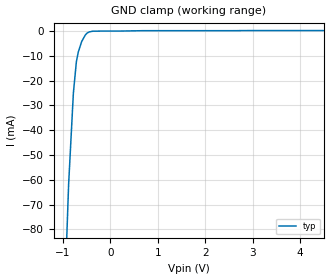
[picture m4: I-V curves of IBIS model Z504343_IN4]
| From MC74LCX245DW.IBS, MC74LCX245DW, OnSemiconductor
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| (C) COPYRIGHT 1993-2000
| MENTOR GRAPHICS CORPORATION
| ICX STANDARD LIBRARY, ICX PROJECT MODELING,
| ICX CUSTOM MODELING, ICX VENDOR MODEL
| ALL RIGHTS RESERVED.
| THE FOLLOWING ARE TRADEMARKS OR SERVICE MARKS OF
| MENTOR GRAPHICS CORPORATION:ICX (R), ICX STANDARD
| LIBRARY(R), ICX PROJECT MODELING(R), ICX CUSTOM
| MODELING(R), qualityIBIS(TM), MODELVIEWER(TM),
| AND MODELEDITOR(TM)
| ALL COPIES OF SOFTWARE, INCLUDING BUT NOT LIMITED TO
| ANY MODIFICATIONS, ENHANCEMENTS OR DERIVATIVE WORKS,
| MUST CONTAIN ALL MENTOR GRAPHICS CORPORATION'S
| NOTICES AND LEGENDS, INCLUDING THOSE EMBEDDED IN
| SOFTWARE AND THOSE AFFIXED TO SOFTWARE MEDIUM
| AND CONTAINER, AS RECEIVED FROM MENTOR GRAPHICS
| CORPORATION.
| Model Application Version 1.89 2/18/99.
[Model] Z504343_IN4
Model_type Input
Vinl = 800.0mV
Vinh = 2.000V
C_comp 4.000pF NA NA
| variable typ   min   max
[Voltage Range] 3.300V NA NA
[GND Clamp Reference] 0.000V NA NA
[POWER Clamp Reference] 3.300V NA NA
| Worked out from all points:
|   GND clamp passes 1 mA (typ) near -0.50 V on its own axis
[GND Clamp]
-3.3V     -1.385A    NA         NA
-881.7mV  -61.87mA   NA         NA
-781.3mV  -24.99mA   NA         NA
-717.8mV  -12.32mA   NA         NA
-678.4mV  -8.489mA   NA         NA
-605.5mV  -4.162mA   NA         NA
-529.3mV  -1.552mA   NA         NA
-449.2mV  -345.5uA   NA         NA
-371.1mV  -33.34uA   NA         NA
687.5mV   176.3uA    NA         NA
6.6V      229.8uA    NA         NA
[POWER Clamp]
-3.3V     0A         NA         NA
6.6V      0A         NA         NA
